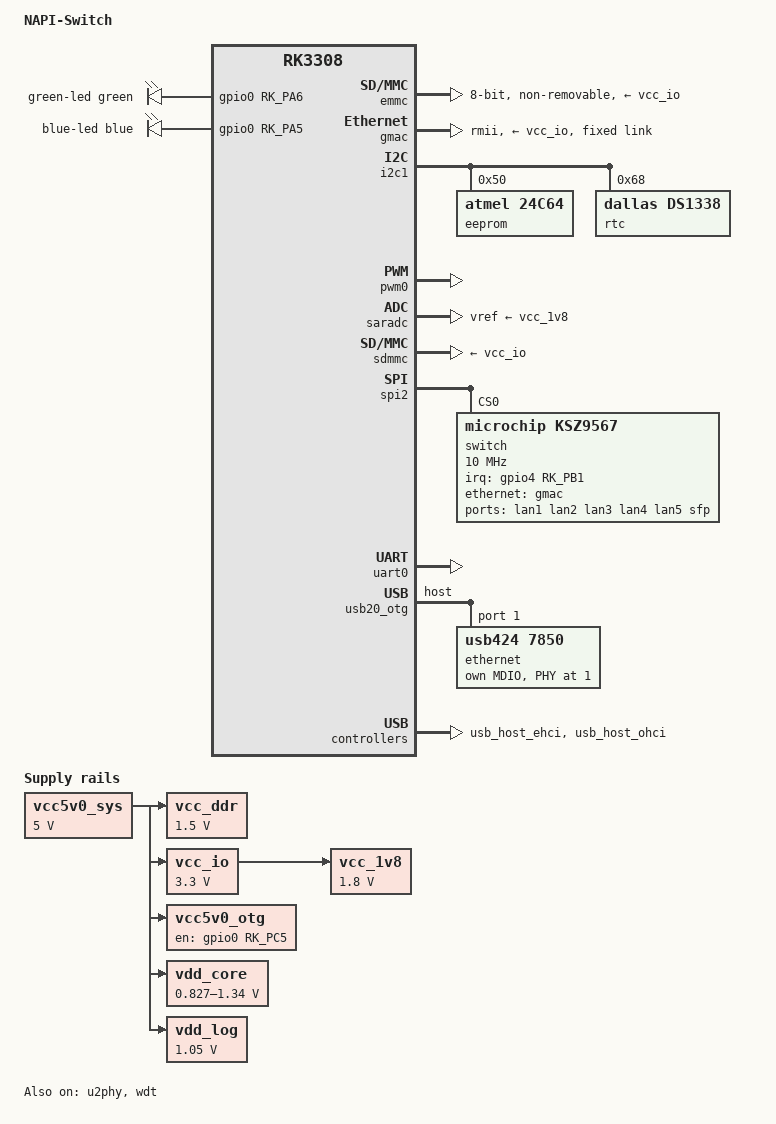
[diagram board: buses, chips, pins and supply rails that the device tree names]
// SPDX-License-Identifier: (GPL-2.0+ OR MIT)
/*
 * Copyright (c) 2026 NAPI Lab
 */

/dts-v1/;

#include <dt-bindings/leds/common.h>
#include <dt-bindings/net/microchip-lan78xx.h>
#include "rk3308.dtsi"

/ {
	model = "NAPI-Switch";
	compatible = "napilab,napi-switch", "rockchip,rk3308";

	aliases {
		ethernet0 = &gmac;
		mmc0 = &emmc;
		mmc1 = &sdmmc;
	};

	chosen {
		stdout-path = "serial0:1500000n8";
	};

	leds {
		compatible = "gpio-leds";
		pinctrl-names = "default";
		pinctrl-0 = <&green_led>, <&heartbeat_led>;

		green-led {
			color = <LED_COLOR_ID_GREEN>;
			default-state = "on";
			function = LED_FUNCTION_POWER;
			gpios = <&gpio0 RK_PA6 GPIO_ACTIVE_HIGH>;
			linux,default-trigger = "default-on";
		};

		blue-led {
			color = <LED_COLOR_ID_BLUE>;
			default-state = "on";
			function = LED_FUNCTION_HEARTBEAT;
			gpios = <&gpio0 RK_PA5 GPIO_ACTIVE_HIGH>;
			linux,default-trigger = "heartbeat";
		};
	};

	vcc_1v8: vcc-1v8 {
		compatible = "regulator-fixed";
		regulator-name = "vcc_1v8";
		regulator-always-on;
		regulator-boot-on;
		regulator-min-microvolt = <1800000>;
		regulator-max-microvolt = <1800000>;
		vin-supply = <&vcc_io>;
	};

	vcc_ddr: vcc-ddr {
		compatible = "regulator-fixed";
		regulator-name = "vcc_ddr";
		regulator-always-on;
		regulator-boot-on;
		regulator-min-microvolt = <1500000>;
		regulator-max-microvolt = <1500000>;
		vin-supply = <&vcc5v0_sys>;
	};

	vcc_io: vcc-io {
		compatible = "regulator-fixed";
		regulator-name = "vcc_io";
		regulator-always-on;
		regulator-boot-on;
		regulator-min-microvolt = <3300000>;
		regulator-max-microvolt = <3300000>;
		vin-supply = <&vcc5v0_sys>;
	};

	vcc5v0_otg: vcc5v0-otg {
		compatible = "regulator-fixed";
		enable-active-high;
		gpio = <&gpio0 RK_PC5 GPIO_ACTIVE_HIGH>;
		pinctrl-names = "default";
		pinctrl-0 = <&otg_vbus_drv>;
		regulator-name = "vcc5v0_otg";
		regulator-always-on;
		vin-supply = <&vcc5v0_sys>;
	};

	vcc5v0_sys: vcc5v0-sys {
		compatible = "regulator-fixed";
		regulator-name = "vcc5v0_sys";
		regulator-always-on;
		regulator-boot-on;
		regulator-min-microvolt = <5000000>;
		regulator-max-microvolt = <5000000>;
	};

	vdd_core: vdd-core {
		compatible = "pwm-regulator";
		pwms = <&pwm0 0 5000 1>;
		pwm-supply = <&vcc5v0_sys>;
		regulator-name = "vdd_core";
		regulator-min-microvolt = <827000>;
		regulator-max-microvolt = <1340000>;
		regulator-init-microvolt = <1015000>;
		regulator-settling-time-up-us = <250>;
		regulator-always-on;
		regulator-boot-on;
	};

	vdd_log: vdd-log {
		compatible = "regulator-fixed";
		regulator-name = "vdd_log";
		regulator-always-on;
		regulator-boot-on;
		regulator-min-microvolt = <1050000>;
		regulator-max-microvolt = <1050000>;
		vin-supply = <&vcc5v0_sys>;
	};
};

&cpu0 {
	cpu-supply = <&vdd_core>;
};

&emmc {
	bus-width = <8>;
	cap-mmc-highspeed;
	mmc-hs200-1_8v;
	no-sdio;
	no-sd;
	non-removable;
	pinctrl-names = "default";
	pinctrl-0 = <&emmc_bus8 &emmc_clk &emmc_cmd>;
	vmmc-supply = <&vcc_io>;
	vqmmc-supply = <&vcc_1v8>;
	status = "okay";
};

&gmac {
	clock_in_out = "output";
	phy-mode = "rmii";
	phy-supply = <&vcc_io>;
	status = "okay";

	fixed-link {
		speed = <100>;
		full-duplex;
	};
};

&i2c1 {
	status = "okay";

	eeprom@50 {
		compatible = "atmel,24c64";
		reg = <0x50>;
		address-width = <16>;
		pagesize = <32>;
		size = <8192>;
	};

	rtc@68 {
		compatible = "dallas,ds1338";
		reg = <0x68>;
	};
};

&pinctrl {
	pinctrl-names = "default";
	pinctrl-0 = <&rtc_32k>;

	ksz9567 {
		ksz_int: ksz-int {
			rockchip,pins = <4 RK_PB1 RK_FUNC_GPIO &pcfg_pull_none>;
		};

		ksz_rst: ksz-rst {
			rockchip,pins = <2 RK_PA3 RK_FUNC_GPIO &pcfg_pull_none>;
		};
	};

	leds {
		green_led: green-led {
			rockchip,pins = <0 RK_PA6 RK_FUNC_GPIO &pcfg_pull_none>;
		};

		heartbeat_led: heartbeat-led {
			rockchip,pins = <0 RK_PA5 RK_FUNC_GPIO &pcfg_pull_none>;
		};
	};

	usb {
		otg_vbus_drv: otg-vbus-drv {
			rockchip,pins = <0 RK_PC5 RK_FUNC_GPIO &pcfg_pull_none>;
		};
	};
};

&pwm0 {
	pinctrl-0 = <&pwm0_pin_pull_down>;
	status = "okay";
};

&saradc {
	vref-supply = <&vcc_1v8>;
	status = "okay";
};

&sdmmc {
	cap-mmc-highspeed;
	cap-sd-highspeed;
	disable-wp;
	vmmc-supply = <&vcc_io>;
	status = "okay";
};

&spi2 {
	status = "okay";

	switch@0 {
		compatible = "microchip,ksz9567";
		reg = <0>;
		interrupt-parent = <&gpio4>;
		interrupts = <RK_PB1 IRQ_TYPE_LEVEL_LOW>;
		pinctrl-names = "default";
		pinctrl-0 = <&ksz_int &ksz_rst>;
		spi-max-frequency = <10000000>;

		ethernet-ports {
			#address-cells = <1>;
			#size-cells = <0>;

			port@0 {
				reg = <0>;
				label = "lan1";
				phy-mode = "internal";
			};

			port@1 {
				reg = <1>;
				label = "lan2";
				phy-mode = "internal";
			};

			port@2 {
				reg = <2>;
				label = "lan3";
				phy-mode = "internal";
			};

			port@3 {
				reg = <3>;
				label = "lan4";
				phy-mode = "internal";
			};

			port@4 {
				reg = <4>;
				label = "lan5";
				phy-mode = "internal";
			};

			port@5 {
				reg = <5>;
				ethernet = <&gmac>;
				phy-mode = "rmii";

				fixed-link {
					speed = <100>;
					full-duplex;
				};
			};

			sfp_port: port@6 {
				reg = <6>;
				label = "sfp";
				managed = "in-band-status";
				phy-mode = "sgmii";
			};
		};
	};
};

&u2phy {
	status = "okay";

	u2phy_host: host-port {
		phy-supply = <&vcc5v0_otg>;
		status = "okay";
	};

	u2phy_otg: otg-port {
		phy-supply = <&vcc5v0_otg>;
		status = "okay";
	};
};

&uart0 {
	pinctrl-names = "default";
	pinctrl-0 = <&uart0_xfer>;
	status = "okay";
};

&usb20_otg {
	#address-cells = <1>;
	#size-cells = <0>;
	dr_mode = "host";
	status = "okay";

	ethernet@1 {
		compatible = "usb424,7850";
		reg = <1>;

		mdio {
			#address-cells = <1>;
			#size-cells = <0>;

			lan7850_phy: ethernet-phy@1 {
				reg = <1>;
				microchip,led-modes = <LAN78XX_LINK_ACTIVITY
						       LAN78XX_FORCE_LED_OFF
						       LAN78XX_ACTIVITY>;
			};
		};
	};
};

&usb_host_ehci {
	status = "okay";
};

&usb_host_ohci {
	status = "okay";
};

&wdt {
	status = "okay";
};
